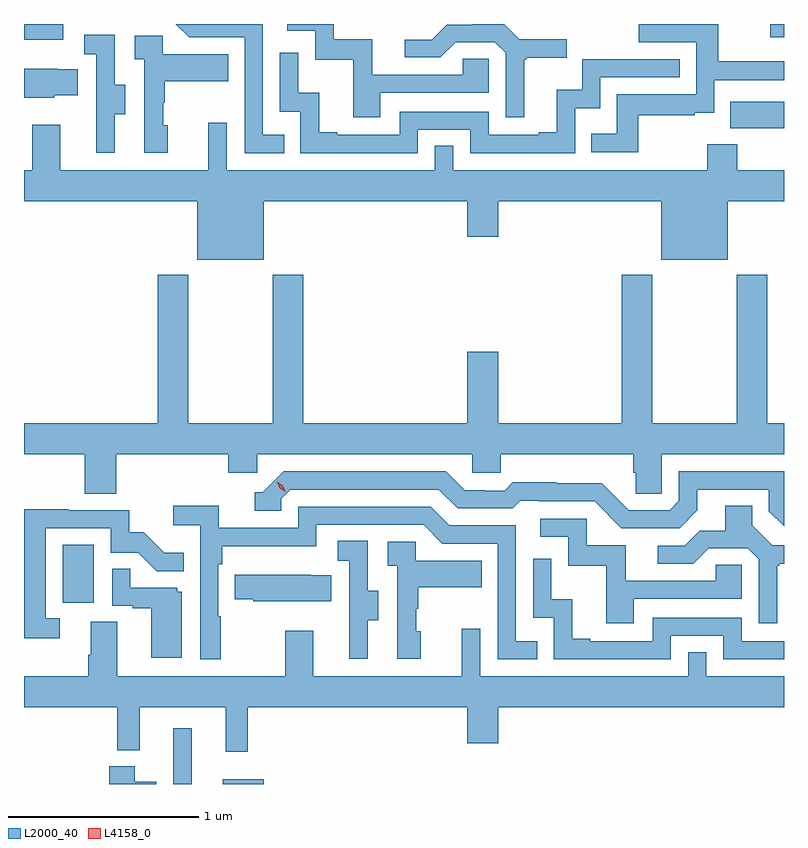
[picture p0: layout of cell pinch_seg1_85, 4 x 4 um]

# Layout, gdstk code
import gdstk
lib = gdstk.Library(unit=1e-6, precision=1e-09)
def R(c, l, rs):  # rectangles x0, y0, x1, y1
    for r in rs: c.add(gdstk.rectangle(r[:2], r[2:], *l))
def P(c, l, *ps):  # polygons
    for p in ps: c.add(gdstk.Polygon(p, *l))
L2000_40 = (2000, 40)
L4158_0 = (4158, 0)

pinch_seg1_85 = lib.new_cell('pinch_seg1_85')
R(pinch_seg1_85, L2000_40, [(1074.549,573.973,1074.646,574.267), (1074.809,573.973,1075.024,573.997), (1073.966,574.926,1074.13,575.233), (1073.763,577.889,1073.97,577.973), (1077.69,577.904,1077.763,577.973)])
P(pinch_seg1_85, L2000_40, [(1076.995,577.494),(1077.293,577.494),(1077.293,577.505),(1077.396,577.505),(1077.396,577.677),(1077.763,577.677),(1077.763,577.778),(1077.416,577.778),(1077.416,577.973),(1076.999,577.973),(1076.999,577.878),(1077.3,577.878),(1077.3,577.602),(1076.884,577.602),(1076.884,577.396),(1076.749,577.396),(1076.749,577.299),(1076.995,577.299)],
  [(1075.133,577.389),(1075.02,577.389),(1075.02,577.973),(1074.562,577.973),(1074.633,577.902),(1074.924,577.902),(1074.924,577.293),(1075.133,577.293)],
  [(1076.395,577.785),(1076.407,577.785),(1076.407,577.796),(1076.62,577.796),(1076.62,577.893),(1076.37,577.893),(1076.29,577.973),(1076.123,577.973),(1076.123,577.97),(1075.988,577.97),(1075.908,577.89),(1075.767,577.89),(1075.767,577.797),(1075.954,577.797),(1076.035,577.878),(1076.241,577.878),(1076.298,577.821),(1076.298,577.482),(1076.395,577.482)],
  [(1075.639,577.611),(1076.208,577.611),(1076.208,577.791),(1076.071,577.791),(1076.071,577.707),(1075.597,577.707),(1075.597,577.893),(1075.392,577.893),(1075.392,577.973),(1075.149,577.973),(1075.149,577.938),(1075.296,577.938),(1075.296,577.785),(1075.495,577.785),(1075.495,577.482),(1075.639,577.482)],
  [(1074.241,577.498),(1074.295,577.498),(1074.295,577.653),(1074.24,577.653),(1074.24,577.916),(1074.081,577.916),(1074.081,577.813),(1074.144,577.813),(1074.144,577.509),(1074.143,577.509),(1074.143,577.296),(1074.241,577.296)],
  [(1074.52,577.44),(1074.495,577.44),(1074.495,577.559),(1074.505,577.559),(1074.505,577.673),(1074.839,577.673),(1074.839,577.813),(1074.492,577.813),(1074.492,577.911),(1074.345,577.911),(1074.345,577.787),(1074.396,577.787),(1074.396,577.296),(1074.52,577.296)],
  [(1075.836,577.416),(1076.112,577.416),(1076.112,577.293),(1076.664,577.293),(1076.664,577.529),(1076.796,577.529),(1076.796,577.692),(1077.215,577.692),(1077.215,577.788),(1076.7,577.788),(1076.7,577.627),(1076.567,577.627),(1076.567,577.402),(1076.471,577.402),(1076.471,577.389),(1076.208,577.389),(1076.208,577.512),(1075.74,577.512),(1075.74,577.389),(1075.411,577.389),(1075.411,577.402),(1075.316,577.402),(1075.316,577.61),(1075.206,577.61),(1075.206,577.822),(1075.11,577.822),(1075.11,577.512),(1075.218,577.512),(1075.218,577.293),(1075.836,577.293)],
  [(1073.922,577.598),(1074.047,577.598),(1074.047,577.735),(1073.939,577.735),(1073.939,577.738),(1073.763,577.738),(1073.763,577.586),(1073.922,577.586)],
  [(1077.763,577.563),(1077.695,577.563),(1077.695,577.564),(1077.481,577.564),(1077.481,577.424),(1077.763,577.424)],
  [(1073.806,577.444),(1073.806,577.204),(1073.763,577.204),(1073.763,577.04),(1074.674,577.04),(1074.674,576.731),(1075.024,576.731),(1075.024,577.04),(1076.096,577.04),(1076.096,576.852),(1076.26,576.852),(1076.26,577.04),(1077.116,577.04),(1077.116,576.731),(1077.466,576.731),(1077.466,577.04),(1077.763,577.04),(1077.763,577.204),(1077.518,577.204),(1077.518,577.339),(1077.358,577.339),(1077.358,577.204),(1076.022,577.204),(1076.022,577.331),(1075.926,577.331),(1075.926,577.204),(1074.831,577.204),(1074.831,577.453),(1074.734,577.453),(1074.734,577.204),(1073.953,577.204),(1073.953,577.444)],
  [(1074.248,575.708),(1074.839,575.708),(1074.839,575.61),(1074.99,575.61),(1074.99,575.708),(1076.121,575.708),(1076.121,575.61),(1076.271,575.61),(1076.271,575.708),(1076.969,575.708),(1076.969,575.61),(1076.983,575.61),(1076.983,575.5),(1077.12,575.5),(1077.12,575.708),(1077.763,575.708),(1077.763,575.872),(1077.674,575.872),(1077.674,576.652),(1077.514,576.652),(1077.514,575.872),(1077.069,575.872),(1077.069,576.652),(1076.909,576.652),(1076.909,575.872),(1076.26,575.872),(1076.26,576.247),(1076.096,576.247),(1076.096,575.872),(1075.232,575.872),(1075.232,576.652),(1075.072,576.652),(1075.072,575.872),(1074.627,575.872),(1074.627,576.652),(1074.467,576.652),(1074.467,575.872),(1073.763,575.872),(1073.763,575.708),(1074.083,575.708),(1074.083,575.5),(1074.248,575.5)],
  [(1077.307,575.413),(1077.307,575.523),(1077.684,575.523),(1077.684,575.409),(1077.763,575.33),(1077.763,575.619),(1077.21,575.619),(1077.21,575.463),(1077.162,575.415),(1076.946,575.415),(1076.804,575.557),(1076.568,575.557),(1076.568,575.56),(1076.335,575.56),(1076.293,575.517),(1076.19,575.517),(1076.19,575.52),(1076.083,575.52),(1075.984,575.619),(1075.131,575.619),(1075.02,575.508),(1074.977,575.508),(1074.977,575.412),(1075.116,575.412),(1075.116,575.475),(1075.164,575.523),(1075.947,575.523),(1076.046,575.424),(1076.335,575.424),(1076.374,575.463),(1076.473,575.463),(1076.473,575.46),(1076.766,575.46),(1076.907,575.319),(1077.213,575.319)],
  [(1077.727,575.121),(1077.739,575.121),(1077.739,575.132),(1077.763,575.132),(1077.763,575.229),(1077.702,575.229),(1077.595,575.336),(1077.595,575.438),(1077.455,575.438),(1077.455,575.306),(1077.32,575.306),(1077.24,575.226),(1077.099,575.226),(1077.099,575.133),(1077.286,575.133),(1077.367,575.214),(1077.573,575.214),(1077.63,575.157),(1077.63,574.818),(1077.727,574.818)],
  [(1074.799,574.856),(1074.786,574.856),(1074.786,575.129),(1074.806,575.129),(1074.806,575.225),(1075.302,575.225),(1075.302,575.337),(1075.866,575.337),(1075.965,575.238),(1076.256,575.238),(1076.256,574.629),(1076.465,574.629),(1076.465,574.725),(1076.352,574.725),(1076.352,575.334),(1076.002,575.334),(1075.903,575.433),(1075.206,575.433),(1075.206,575.322),(1074.788,575.322),(1074.788,575.438),(1074.549,575.438),(1074.549,575.336),(1074.69,575.336),(1074.69,574.629),(1074.799,574.629)],
  [(1073.95,574.845),(1073.877,574.845),(1073.877,575.319),(1074.219,575.319),(1074.219,575.19),(1074.363,575.19),(1074.461,575.092),(1074.605,575.092),(1074.605,575.191),(1074.501,575.191),(1074.394,575.298),(1074.318,575.298),(1074.318,575.415),(1073.999,575.415),(1073.999,575.42),(1073.763,575.42),(1073.763,574.74),(1073.95,574.74)],
  [(1076.971,574.947),(1077.54,574.947),(1077.54,575.127),(1077.403,575.127),(1077.403,575.043),(1076.929,575.043),(1076.929,575.229),(1076.724,575.229),(1076.724,575.37),(1076.481,575.37),(1076.481,575.274),(1076.628,575.274),(1076.628,575.121),(1076.827,575.121),(1076.827,574.818),(1076.971,574.818)],
  [(1075.573,574.834),(1075.627,574.834),(1075.627,574.989),(1075.572,574.989),(1075.572,575.252),(1075.413,575.252),(1075.413,575.149),(1075.476,575.149),(1075.476,574.845),(1075.475,574.845),(1075.475,574.632),(1075.573,574.632)],
  [(1075.852,574.776),(1075.827,574.776),(1075.827,574.895),(1075.837,574.895),(1075.837,575.009),(1076.171,575.009),(1076.171,575.149),(1075.824,575.149),(1075.824,575.247),(1075.677,575.247),(1075.677,575.123),(1075.728,575.123),(1075.728,574.632),(1075.852,574.632)],
  [(1077.168,574.752),(1077.444,574.752),(1077.444,574.629),(1077.763,574.629),(1077.763,574.725),(1077.54,574.725),(1077.54,574.848),(1077.072,574.848),(1077.072,574.725),(1076.743,574.725),(1076.743,574.738),(1076.648,574.738),(1076.648,574.946),(1076.538,574.946),(1076.538,575.158),(1076.442,575.158),(1076.442,574.848),(1076.55,574.848),(1076.55,574.629),(1077.168,574.629)],
  [(1074.592,574.986),(1074.57,574.986),(1074.57,575.007),(1074.323,575.007),(1074.323,575.105),(1074.228,575.105),(1074.228,574.911),(1074.335,574.911),(1074.335,574.899),(1074.434,574.899),(1074.434,574.638),(1074.592,574.638)],
  [(1075.379,575.071),(1075.271,575.071),(1075.271,575.074),(1074.871,575.074),(1074.871,574.945),(1074.969,574.945),(1074.969,574.934),(1075.379,574.934)],
  [(1074.941,574.376),(1076.096,574.376),(1076.096,574.188),(1076.26,574.188),(1076.26,574.376),(1077.763,574.376),(1077.763,574.54),(1077.354,574.54),(1077.354,574.667),(1077.258,574.667),(1077.258,574.54),(1076.163,574.54),(1076.163,574.789),(1076.066,574.789),(1076.066,574.54),(1075.285,574.54),(1075.285,574.78),(1075.138,574.78),(1075.138,574.54),(1074.253,574.54),(1074.253,574.826),(1074.113,574.826),(1074.113,574.652),(1074.101,574.652),(1074.101,574.54),(1073.763,574.54),(1073.763,574.376),(1074.253,574.376),(1074.253,574.151),(1074.371,574.151),(1074.371,574.376),(1074.824,574.376),(1074.824,574.143),(1074.941,574.143)],
  [(1074.46,573.985),(1074.346,573.985),(1074.346,574.066),(1074.212,574.066),(1074.212,573.973),(1074.46,573.973)])
P(pinch_seg1_85, L4158_0, [(1075.141,575.51),(1075.11,575.53),(1075.095,575.562),(1075.095,575.563),(1075.095,575.563),(1075.125,575.543),(1075.141,575.511),(1075.141,575.51)])

lib.write_gds('pinch_seg1_85.gds')
